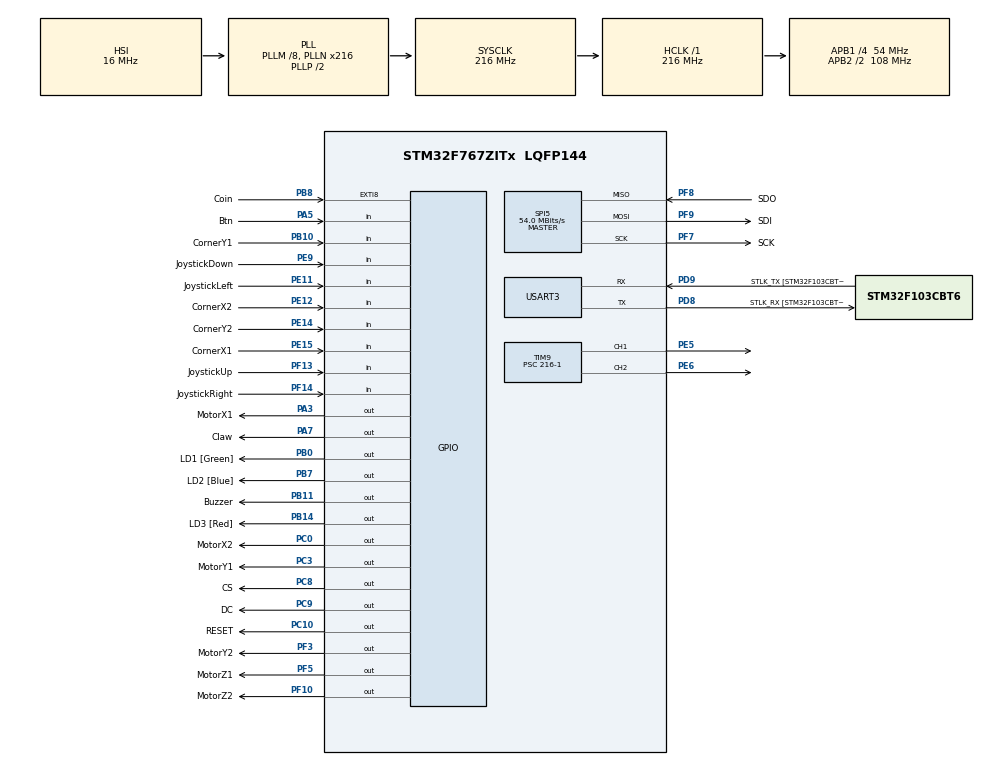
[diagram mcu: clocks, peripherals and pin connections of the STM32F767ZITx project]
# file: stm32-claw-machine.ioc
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Mcu.Family=STM32F7
Mcu.Name=STM32F767ZITx
Mcu.Package=LQFP144
NVIC.EXTI9_5_IRQn=true\:1\:0\:true\:false\:true\:true\:true\:true
NVIC.PriorityGroup=NVIC_PRIORITYGROUP_2
NVIC.TIM2_IRQn=true\:1\:0\:true\:false\:true\:true\:true\:true
PA3.GPIO_Label=MotorX1
PA3.Signal=GPIO_Output
PA5.GPIO_Label=Btn
PA5.Signal=GPIO_Input
PA7.GPIO_Label=Claw
PA7.Signal=GPIO_Output
PB0.GPIO_Label=LD1 [Green]
PB0.Signal=GPIO_Output
PB10.GPIO_Label=CornerY1
PB10.Signal=GPIO_Input
PB11.GPIO_Label=Buzzer
PB11.GPIO_PuPd=GPIO_PULLUP
PB11.Signal=GPIO_Output
PB14.GPIO_Label=LD3 [Red]
PB14.Signal=GPIO_Output
PB7.GPIO_Label=LD2 [Blue]
PB7.Signal=GPIO_Output
PB8.GPIO_Label=Coin
PB8.GPIO_ModeDefaultEXTI=GPIO_MODE_IT_FALLING
PB8.Signal=GPXTI8
PC0.GPIO_Label=MotorX2
PC0.Signal=GPIO_Output
PC10.GPIO_Label=RESET
PC10.Signal=GPIO_Output
PC14/OSC32_IN.Mode=LSE-External-Oscillator
PC14/OSC32_IN.Signal=RCC_OSC32_IN
PC15/OSC32_OUT.Mode=LSE-External-Oscillator
PC15/OSC32_OUT.Signal=RCC_OSC32_OUT
PC3.GPIO_Label=MotorY1
PC3.Signal=GPIO_Output
PC8.GPIO_Label=CS
PC8.Signal=GPIO_Output
PC9.GPIO_Label=DC
PC9.Signal=GPIO_Output
PD8.GPIO_Label=STLK_RX [STM32F103CBT6_PA3]
PD8.Mode=Asynchronous
PD8.Signal=USART3_TX
PD9.GPIO_Label=STLK_TX [STM32F103CBT6_PA2]
PD9.Mode=Asynchronous
PD9.Signal=USART3_RX
PE11.GPIO_Label=JoystickLeft
PE11.GPIO_PuPd=GPIO_PULLUP
PE11.Signal=GPIO_Input
PE12.GPIO_Label=CornerX2
PE12.Signal=GPIO_Input
PE14.GPIO_Label=CornerY2
PE14.Signal=GPIO_Input
PE15.GPIO_Label=CornerX1
PE15.Signal=GPIO_Input
PE5.GPIO_Speed=GPIO_SPEED_FREQ_VERY_HIGH
PE5.Signal=S_TIM9_CH1
PE6.GPIO_Speed=GPIO_SPEED_FREQ_VERY_HIGH
PE6.Signal=S_TIM9_CH2
PE9.GPIO_Label=JoystickDown
PE9.GPIO_PuPd=GPIO_PULLUP
PE9.Signal=GPIO_Input
PF10.GPIO_Label=MotorZ2
PF10.Signal=GPIO_Output
PF13.GPIO_Label=JoystickUp
PF13.GPIO_PuPd=GPIO_PULLUP
PF13.Signal=GPIO_Input
PF14.GPIO_Label=JoystickRight
PF14.GPIO_PuPd=GPIO_PULLUP
PF14.Signal=GPIO_Input
PF3.GPIO_Label=MotorY2
PF3.Signal=GPIO_Output
PF5.GPIO_Label=MotorZ1
PF5.Signal=GPIO_Output
PF7.GPIO_Label=SCK
PF7.Mode=Full_Duplex_Master
PF7.Signal=SPI5_SCK
PF8.GPIO_Label=SDO
PF8.Mode=Full_Duplex_Master
PF8.Signal=SPI5_MISO
PF9.GPIO_Label=SDI
PF9.Mode=Full_Duplex_Master
PF9.Signal=SPI5_MOSI
PH0/OSC_IN.GPIO_Label=MCO [STM32F103CBT6_PA8]
PH0/OSC_IN.Mode=HSE-External-Clock-Source
PH0/OSC_IN.Signal=RCC_OSC_IN
PH1/OSC_OUT.Mode=HSE-External-Clock-Source
PH1/OSC_OUT.Signal=RCC_OSC_OUT
ProjectManager.HeapSize=0x200
ProjectManager.StackSize=0x400
ProjectManager.TargetToolchain=STM32CubeIDE
RCC.48MHZClocksFreq_Value=24000000
RCC.AHBFreq_Value=216000000
RCC.APB1CLKDivider=RCC_HCLK_DIV4
RCC.APB1Freq_Value=54000000
RCC.APB1TimFreq_Value=108000000
RCC.APB2CLKDivider=RCC_HCLK_DIV2
RCC.APB2Freq_Value=108000000
RCC.APB2TimFreq_Value=216000000
RCC.CortexFreq_Value=216000000
RCC.HCLKFreq_Value=216000000
RCC.HSE_VALUE=8000000
RCC.HSI_VALUE=16000000
RCC.PLLM=8
RCC.PLLMUL=RCC_PLL_MUL9
RCC.PLLN=216
RCC.PLLQ=9
RCC.PRESCALERUSB=RCC_USBCLKSOURCE_PLL_DIV1_5
RCC.SYSCLKFreq_VALUE=216000000
RCC.SYSCLKSource=RCC_SYSCLKSOURCE_PLLCLK
RCC.SYSCLKSourceVirtual=RCC_SYSCLKSOURCE_PLLCLK
RCC.USBFreq_Value=48000000
RCC.VCOOutputFreq_Value=432000000
SH.S_TIM9_CH1.0=TIM9_CH1,PWM Generation1 CH1
SH.S_TIM9_CH2.0=TIM9_CH2,PWM Generation2 CH2
SPI5.BaudRatePrescaler=SPI_BAUDRATEPRESCALER_2
SPI5.CalculateBaudRate=54.0 MBits/s
SPI5.DataSize=SPI_DATASIZE_8BIT
SPI5.Direction=SPI_DIRECTION_2LINES
SPI5.Mode=SPI_MODE_MASTER
SPI5.VirtualType=VM_MASTER
TIM2.Period=1000000-1
TIM2.Prescaler=108-1
TIM3.Period=10000-1
TIM3.Prescaler=108-1
TIM9.Channel-PWM\ Generation1\ CH1=TIM_CHANNEL_1
TIM9.Channel-PWM\ Generation2\ CH2=TIM_CHANNEL_2
TIM9.Period=1000-1
TIM9.Prescaler=216-1
TIM9.Pulse-PWM\ Generation1\ CH1=1000-1
TIM9.Pulse-PWM\ Generation2\ CH2=1000-1
USART3.VirtualMode-Asynchronous=VM_ASYNC
VP_TIM2_VS_ClockSourceINT.Mode=Internal
VP_TIM3_VS_ClockSourceINT.Mode=Internal
VP_TIM9_VS_ClockSourceINT.Mode=Internal
board=NUCLEO-F767ZI

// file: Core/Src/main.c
/* USER CODE BEGIN Header */
/**
  ******************************************************************************
  * @file           : main.c
  * @brief          : Main program body
  ******************************************************************************
  * @attention
  *
  * Copyright (c) 2025 STMicroelectronics.
  * All rights reserved.
  *
  * This software is licensed under terms that can be found in the LICENSE file
  * in the root directory of this software component.
  * If no LICENSE file comes with this software, it is provided AS-IS.
  *
  ******************************************************************************
  */
/* USER CODE END Header */
#include "main.h"
#include "spi.h"
#include "tim.h"
#include "usart.h"
#include "gpio.h"

/* USER CODE BEGIN Includes */
#include <stdarg.h>
#include <stdio.h>
#include <string.h>
#include "state.h"
#include "ili9341.h"
#include "ili9341_fonts.h"
#include "LCD_pages.h"

/* USER CODE END Includes */

/* USER CODE BEGIN PD */
const uint8_t TARGET_COIN_AMOUNT = 10;
const uint8_t COIN_VALUE = 5;
const uint8_t WAIT_COIN_TIME_LIMIT = 10;
const uint8_t WAIT_GAME_TIME_STATE = 30;
uint8_t currentCoinAmount = 0;
uint8_t STATE = IDLE;
int timeCount = 0;

/* USER CODE END PD */

/* USER CODE BEGIN PV */

/*
 === Joystick ===
 Right - Green
 Up - Yellow
 Left - Red
 Down - Blue

*/

/* USER CODE END PV */

void SystemClock_Config(void);
/* USER CODE BEGIN PFP */
void transmitStringUART(const char* format, ...);

void home() {
//	posX *= 1.0;
//	posY *= 1.0;
//	while (posX > 0) {
//		  HAL_GPIO_WritePin(GPIOE, GPIO_PIN_13, 1);
//		  HAL_GPIO_WritePin(GPIOF, GPIO_PIN_15, 0);
//		  posX -= 1;
//		  transmitStringUART("Position (%.1f, %.1f)\r\n", posX, posY);
//	}
//	 HAL_GPIO_WritePin(GPIOE, GPIO_PIN_13, 0);
//	 HAL_GPIO_WritePin(GPIOF, GPIO_PIN_15, 0);
//
//	while (posY > 0) {
//		  HAL_GPIO_WritePin(GPIOG, GPIO_PIN_14, 1);
//		  HAL_GPIO_WritePin(GPIOG, GPIO_PIN_9, 0);
//		  posY -= 1;
//		  transmitStringUART("Position (%.1f, %.1f)\r\n", posX, posY);
//	}
//	  HAL_GPIO_WritePin(GPIOG, GPIO_PIN_14, 0);
//	  HAL_GPIO_WritePin(GPIOG, GPIO_PIN_9, 0);
//
//	  posX = 0.0f;
//	  posY = 0.0f;

//	  HAL_GPIO_WritePin(Claw_GPIO_Port, Claw_Pin, 1);
//
//	  HAL_GPIO_WritePin(MotorZ1_GPIO_Port, MotorZ1_Pin, 0);
//	  HAL_GPIO_WritePin(MotorZ2_GPIO_Port, MotorZ2_Pin, 0);
	while (HAL_GPIO_ReadPin(CornerX1_GPIO_Port, CornerX1_Pin)) {
//		transmitStringUART("X = %d Y = %d\r\n", HAL_GPIO_ReadPin(CornerX_GPIO_Port, CornerX_Pin), HAL_GPIO_ReadPin(CornerY_GPIO_Port, CornerY_Pin));
		HAL_GPIO_WritePin(MotorX1_GPIO_Port, MotorX1_Pin, 1);
		HAL_GPIO_WritePin(MotorX2_GPIO_Port, MotorX2_Pin, 0);
		HAL_Delay(10);
	}
	HAL_GPIO_WritePin(MotorX1_GPIO_Port, MotorX1_Pin, 0);
	HAL_GPIO_WritePin(MotorX2_GPIO_Port, MotorX2_Pin, 0);

	while (HAL_GPIO_ReadPin(CornerY1_GPIO_Port, CornerY1_Pin)) {
//		transmitStringUART("X = %d Y = %d\r\n", HAL_GPIO_ReadPin(CornerX_GPIO_Port, CornerX_Pin), HAL_GPIO_ReadPin(CornerY_GPIO_Port, CornerY_Pin));
		HAL_GPIO_WritePin(MotorY1_GPIO_Port, MotorY1_Pin, 1);
		HAL_GPIO_WritePin(MotorY2_GPIO_Port, MotorY2_Pin, 0);
		HAL_Delay(10);
//		if (HAL_GPIO_ReadPin(CornerY_GPIO_Port, CornerY_Pin)) break;
	}

	HAL_GPIO_WritePin(MotorY1_GPIO_Port, MotorY1_Pin, 0);
	HAL_GPIO_WritePin(MotorY2_GPIO_Port, MotorY2_Pin, 0);

	transmitStringUART("Homing Complete\r\n");

}

void playBuzzer(uint16_t duration);
void playRefereeBuzzer();

/* USER CODE END PFP */

/* USER CODE BEGIN 0 */
ILI9341_HandleTypeDef ili9341;
/* USER CODE END 0 */

int main(void)
{

  /* MCU Configuration--------------------------------------------------------*/

  /* Reset of all peripherals, Initializes the Flash interface and the Systick. */
  HAL_Init();

  /* Configure the system clock */
  SystemClock_Config();

  /* Initialize all configured peripherals */
  MX_GPIO_Init();
  MX_USART3_UART_Init();
  MX_TIM2_Init();
  MX_SPI5_Init();
  MX_TIM3_Init();
  MX_TIM9_Init();
  /* USER CODE BEGIN 2 */
  HAL_TIM_PWM_Start(&htim9, TIM_CHANNEL_1);
  HAL_TIM_PWM_Start(&htim9, TIM_CHANNEL_2);
  ili9341 = ILI9341_Init(
  	&hspi5,
  	CS_GPIO_Port,
  	CS_Pin,
  	DC_GPIO_Port,
  	DC_Pin,
  	RESET_GPIO_Port,
  	RESET_Pin,
  	ILI9341_ROTATION_HORIZONTAL_2,
  	320,
  	240
  );
  /* USER CODE END 2 */

  /* Infinite loop */
  /* USER CODE BEGIN WHILE */
  HAL_GPIO_WritePin(Buzzer_GPIO_Port, Buzzer_Pin, 1);
  transmitStringUART("Program started. Current State: %s\r\n", stateNames[STATE]);
  home();
  while (1)
  {
    /* USER CODE END WHILE */

    /* USER CODE BEGIN 3 */
//	  ILI9341_FillScreen(&ili9341, ILI9341_COLOR_RED);

//	  transmitStringUART("Button: %d\r\n", );

//	  transmitStringUART("X = %d Y = %d\r\n", HAL_GPIO_ReadPin(CornerX_GPIO_Port, CornerX_Pin), HAL_GPIO_ReadPin(CornerY_GPIO_Port, CornerY_Pin));
	  if (HAL_GPIO_ReadPin(Btn_GPIO_Port, Btn_Pin) == 0) {
		  if (STATE == GAME) {
			  timeCount = 0;
			  STATE = DEPOSIT;
			  transmitStringUART("State changed to %s\r\n", stateNames[STATE]);
			  playRefereeBuzzer();
		  }
	  }

	  renderPage(STATE);
//	  renderPage(DEPOSIT);

	  if (STATE == IDLE) {
		  if (currentCoinAmount != 0) {

			  HAL_TIM_Base_Start_IT(&htim2);

			  STATE = WAIT_COIN;
			  transmitStringUART("State changed to %s\r\n", stateNames[STATE]);

		  }
	  }
	  else if (STATE == WAIT_COIN) {
		  if (currentCoinAmount >= TARGET_COIN_AMOUNT) {

			  for (int i = 0; i < 3; i++){
				  playBuzzer(100);
				  HAL_Delay(100);
			  }

			  HAL_TIM_Base_Stop_IT(&htim2);
			  currentCoinAmount = 0;
			  __HAL_TIM_SET_COUNTER(&htim2, 0);

			  timeCount = 0;
			  STATE = GAME;
			  transmitStringUART("State changed to %s\r\n", stateNames[STATE]);

		  }
	  }
	  else if (STATE == GAME) {
		  HAL_TIM_Base_Start_IT(&htim2);
		  const uint8_t joystickUp = HAL_GPIO_ReadPin(JoystickUp_GPIO_Port, JoystickUp_Pin);
		  const uint8_t joystickDown = HAL_GPIO_ReadPin(JoystickDown_GPIO_Port, JoystickDown_Pin);
		  const uint8_t joystickLeft = HAL_GPIO_ReadPin(JoystickLeft_GPIO_Port, JoystickLeft_Pin);
		  const uint8_t joystickRight = HAL_GPIO_ReadPin(JoystickRight_GPIO_Port, JoystickRight_Pin);

		  const uint8_t x1 = HAL_GPIO_ReadPin(CornerX1_GPIO_Port, CornerX1_Pin);
		  const uint8_t x2 = HAL_GPIO_ReadPin(CornerX2_GPIO_Port, CornerX2_Pin);
		  const uint8_t y1 = HAL_GPIO_ReadPin(CornerY1_GPIO_Port, CornerY1_Pin);
		  const uint8_t y2 = HAL_GPIO_ReadPin(CornerY2_GPIO_Port, CornerY2_Pin);
	//	  transmitStringUART("Up = %d | Down = %d | Left = %d | Right = %d \r\n", joystickUp, joystickDown, joystickLeft, joystickRight);

		  if (!joystickLeft && x2) {
			  HAL_GPIO_WritePin(MotorX1_GPIO_Port, MotorX1_Pin, 0);
			  HAL_GPIO_WritePin(MotorX2_GPIO_Port, MotorX2_Pin, 1);
		  }
		  else if (!joystickRight && x1) {
			  HAL_GPIO_WritePin(MotorX1_GPIO_Port, MotorX1_Pin, 1);
			  HAL_GPIO_WritePin(MotorX2_GPIO_Port, MotorX2_Pin, 0);
		  }
		  else {
			  HAL_GPIO_WritePin(MotorX1_GPIO_Port, MotorX1_Pin, 0);
			  HAL_GPIO_WritePin(MotorX2_GPIO_Port, MotorX2_Pin, 0);
		  }

		  if (!joystickUp && y1) {
			  HAL_GPIO_WritePin(MotorY1_GPIO_Port, MotorY1_Pin, 1);
			  HAL_GPIO_WritePin(MotorY2_GPIO_Port, MotorY2_Pin, 0);
		  }
		  else if (!joystickDown && y2) {
			  HAL_GPIO_WritePin(MotorY1_GPIO_Port, MotorY1_Pin, 0);
			  HAL_GPIO_WritePin(MotorY2_GPIO_Port, MotorY2_Pin, 1);
		  }
		  else {
			  HAL_GPIO_WritePin(MotorY1_GPIO_Port, MotorY1_Pin, 0);
			  HAL_GPIO_WritePin(MotorY2_GPIO_Port, MotorY2_Pin, 0);
		  }
	  }
	  else if (STATE == DEPOSIT){
		  transmitStringUART("Hello from Deposit state: STOP All\r\n");

		  HAL_GPIO_WritePin(MotorX1_GPIO_Port, MotorX1_Pin, 0);
		  HAL_GPIO_WritePin(MotorX2_GPIO_Port, MotorX2_Pin, 0);
		  HAL_GPIO_WritePin(MotorY1_GPIO_Port, MotorY1_Pin, 0);
		  HAL_GPIO_WritePin(MotorY2_GPIO_Port, MotorY2_Pin, 0);

//		  transmitStringUART("Hello from Deposit state: Moving Z Motor Down\r\n");
		  // Move Z Down
		  HAL_GPIO_WritePin(MotorZ1_GPIO_Port, MotorZ1_Pin, 1);
		  HAL_GPIO_WritePin(MotorZ2_GPIO_Port, MotorZ2_Pin, 0);

		  HAL_Delay(3350);

//		  transmitStringUART("Hello from Deposit state: Claw active\r\n");

		  HAL_GPIO_WritePin(MotorZ1_GPIO_Port, MotorZ1_Pin, 0);
		  HAL_GPIO_WritePin(MotorZ2_GPIO_Port, MotorZ2_Pin, 0);

		  // Claw
		  HAL_GPIO_WritePin(Claw_GPIO_Port, Claw_Pin, 1);
		  HAL_Delay(1000);

//		  transmitStringUART("Hello from Deposit state: Moving Z Motor Up\r\n");
		  // Move Z Up
		  HAL_GPIO_WritePin(MotorZ1_GPIO_Port, MotorZ1_Pin, 0);
		  HAL_GPIO_WritePin(MotorZ2_GPIO_Port, MotorZ2_Pin, 1);

		  HAL_Delay(4000);

//		  transmitStringUART("Hello from Deposit state: Stopping Z Motor\r\n");
		  // Stop Z
		  HAL_GPIO_WritePin(MotorZ1_GPIO_Port, MotorZ1_Pin, 0);
		  HAL_GPIO_WritePin(MotorZ2_GPIO_Port, MotorZ2_Pin, 0);

		  HAL_Delay(500);

		  transmitStringUART("Hello from Deposit state: Going to home\r\n");
		  //Positioning
		  home();

		  HAL_GPIO_WritePin(MotorZ1_GPIO_Port, MotorZ1_Pin, 0);
		  HAL_GPIO_WritePin(MotorZ2_GPIO_Port, MotorZ2_Pin, 0);

		  transmitStringUART("Hello from Deposit state: Release the claw\r\n");
		  HAL_GPIO_WritePin(Claw_GPIO_Port, Claw_Pin, 0);

		  STATE = IDLE;

		  transmitStringUART("State changed to %s\r\n", stateNames[STATE]);
	  }
  }
  /* USER CODE END 3 */
}

void SystemClock_Config(void)
{
  RCC_OscInitTypeDef RCC_OscInitStruct = {0};
  RCC_ClkInitTypeDef RCC_ClkInitStruct = {0};

  /** Configure LSE Drive Capability
  */
  HAL_PWR_EnableBkUpAccess();

  /** Configure the main internal regulator output voltage
  */
  __HAL_RCC_PWR_CLK_ENABLE();
  __HAL_PWR_VOLTAGESCALING_CONFIG(PWR_REGULATOR_VOLTAGE_SCALE1);

  /** Initializes the RCC Oscillators according to the specified parameters
  * in the RCC_OscInitTypeDef structure.
  */
  RCC_OscInitStruct.OscillatorType = RCC_OSCILLATORTYPE_HSI;
  RCC_OscInitStruct.HSIState = RCC_HSI_ON;
  RCC_OscInitStruct.HSICalibrationValue = RCC_HSICALIBRATION_DEFAULT;
  RCC_OscInitStruct.PLL.PLLState = RCC_PLL_ON;
  RCC_OscInitStruct.PLL.PLLSource = RCC_PLLSOURCE_HSI;
  RCC_OscInitStruct.PLL.PLLM = 8;
  RCC_OscInitStruct.PLL.PLLN = 216;
  RCC_OscInitStruct.PLL.PLLP = RCC_PLLP_DIV2;
  RCC_OscInitStruct.PLL.PLLQ = 9;
  RCC_OscInitStruct.PLL.PLLR = 2;
  if (HAL_RCC_OscConfig(&RCC_OscInitStruct) != HAL_OK)
  {
    Error_Handler();
  }

  /** Activate the Over-Drive mode
  */
  if (HAL_PWREx_EnableOverDrive() != HAL_OK)
  {
    Error_Handler();
  }

  /** Initializes the CPU, AHB and APB buses clocks
  */
  RCC_ClkInitStruct.ClockType = RCC_CLOCKTYPE_HCLK|RCC_CLOCKTYPE_SYSCLK
                              |RCC_CLOCKTYPE_PCLK1|RCC_CLOCKTYPE_PCLK2;
  RCC_ClkInitStruct.SYSCLKSource = RCC_SYSCLKSOURCE_PLLCLK;
  RCC_ClkInitStruct.AHBCLKDivider = RCC_SYSCLK_DIV1;
  RCC_ClkInitStruct.APB1CLKDivider = RCC_HCLK_DIV4;
  RCC_ClkInitStruct.APB2CLKDivider = RCC_HCLK_DIV2;

  if (HAL_RCC_ClockConfig(&RCC_ClkInitStruct, FLASH_LATENCY_7) != HAL_OK)
  {
    Error_Handler();
  }
}

/* USER CODE BEGIN 4 */

void transmitStringUART(const char* format, ...){
	char buf[128];

	va_list args;
	va_start(args, format);
	vsnprintf(buf, sizeof(buf), format, args);
	va_end(args);

	HAL_UART_Transmit(&huart3, (uint8_t*)buf, strlen(buf), 50);
}

void HAL_GPIO_EXTI_Callback(uint16_t GPIO_Pin)
{
	transmitStringUART("GPIO: %d\r\n", GPIO_Pin);
	if (GPIO_Pin == GPIO_PIN_8)
	{
		if (STATE == IDLE || STATE == WAIT_COIN){
			currentCoinAmount += COIN_VALUE;
			transmitStringUART("Coin Detected | Current Coin Amount: %d\r\n", currentCoinAmount);
			playBuzzer(100);
		}
	}
}

void playBuzzer(uint16_t duration){
	HAL_GPIO_WritePin(Buzzer_GPIO_Port, Buzzer_Pin, 0);
	HAL_Delay(duration);
	HAL_GPIO_WritePin(Buzzer_GPIO_Port, Buzzer_Pin, 1);
}

void playRefereeBuzzer(){
	playBuzzer(150);
	HAL_Delay(300);
	playBuzzer(150);
	HAL_Delay(300);
	playBuzzer(1500);
}

void HAL_TIM_PeriodElapsedCallback(TIM_HandleTypeDef *htim){

	if (htim -> Instance == TIM2){
		if (STATE == WAIT_COIN) {
			timeCount++;
			timeCount%=11;
			if (timeCount >= WAIT_COIN_TIME_LIMIT) {
				currentCoinAmount = 0;
				STATE = IDLE;
				transmitStringUART("WAIT_COIN exceeded %d seconds | State changed to %s\r\n", WAIT_COIN_TIME_LIMIT, stateNames[STATE]);
				playBuzzer(500);
			}
		}

		if (STATE == GAME) {
			timeCount++;
			timeCount%=31;
			if(timeCount >= WAIT_GAME_TIME_STATE){
				STATE = DEPOSIT;
				transmitStringUART("State changed to %s\r\n", stateNames[STATE]);
				playRefereeBuzzer();
			}

		}

	}
}

/* USER CODE END 4 */

void Error_Handler(void)
{
  __disable_irq();
  while (1)
  {
  }
}
